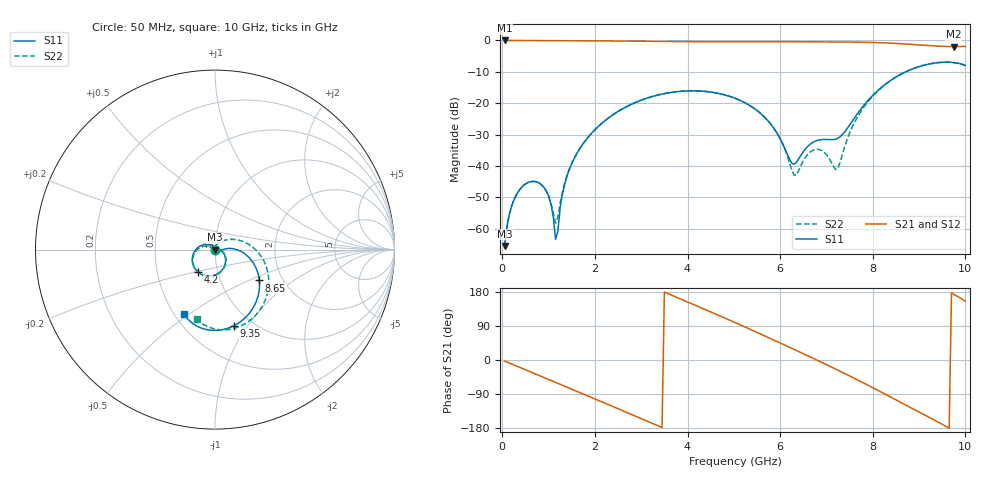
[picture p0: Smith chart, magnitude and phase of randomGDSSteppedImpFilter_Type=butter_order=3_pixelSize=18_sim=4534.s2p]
! freq	dB(S11)	phase(S11)	dB(S12)	phase(S12)
!  dB(S21)	phase(S21)	dB(S22)	phase(S22)
!S-par simulation data
#  GHz  S  DB  R 50
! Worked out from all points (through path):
!   200 points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, 50 MHz to 10 GHz, reference 50 ohm
!   highest |S21| = -0.01 dB at 50 MHz (marker M1); lowest = -2.0 dB at 9.75 GHz (marker M2)
!   group delay of S21, straight-line fit = 154 ps
!   lowest |S11| = -65.5 dB at 50 MHz (marker M3), VSWR 1.00, Z = 50 - j0.0524 ohm
!   |S11| at or under -10 dB: start of sweep to 8.712 GHz
!   |S22| runs from -65.5 to -6.9 dB; largest |S21 - S12| = 0
!   S11 on the Smith chart (normalised r, x): 50 MHz: 1.00, -0.00; 4.2 GHz: 0.80, -0.21; 8.65 GHz: 1.52, -0.58; 9.35 GHz: 0.82, -0.87; 10 GHz: 0.56, -0.48
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0.05  -65.49 -80.4  -0.01 -2.6  -0.01 -2.6  -65.55 -80.4
0.25  -50.85 -94.6  -0.02 -12.9  -0.02 -12.9  -50.88 -95.3
0.65  -44.89 -121.1  -0.04 -33.4  -0.04 -33.4  -44.95 -123.5
1  -49.63 -145.5  -0.06 -51.3  -0.06 -51.3  -49.54 -155.0
1.1  -56.07 -159.6  -0.06 -56.4  -0.06 -56.4  -54.92 179.0
1.15  -63.37 165.2  -0.07 -59.0  -0.07 -59.0  -58.21 140.5
1.35  -45.63 27.1  -0.08 -69.3  -0.08 -69.3  -45.22 37.4
1.75  -32.83 1.8  -0.10 -89.8  -0.10 -89.8  -32.76 5.8
2.5  -22.63 -38.4  -0.17 -128.7  -0.17 -128.7  -22.61 -36.1
3.4  -17.25 -85.4  -0.30 -175.5  -0.30 -175.5  -17.24 -83.4
4.2  -16.07 -127.1  -0.39 142.7  -0.39 142.7  -16.07 -124.8
5.05  -18.56 -172.7  -0.40 97.5  -0.40 97.5  -18.55 -168.5
5.8  -26.73 140.3  -0.39 56.3  -0.39 56.3  -26.68 155.9
6.3  -39.44 36.4  -0.41 28.1  -0.41 28.1  -42.91 -164.2
6.7  -32.53 -39.2  -0.44 5.2  -0.44 5.2  -35.05 -107.6
7.25  -31.13 -23.4  -0.49 -27.0  -0.49 -27.0  -40.62 136.9
7.7  -22.70 5.0  -0.55 -54.2  -0.55 -54.2  -23.62 47.7
8.35  -13.10 -18.3  -0.83 -95.4  -0.83 -95.4  -13.16 1.5
8.65  -10.44 -34.8  -1.08 -114.8  -1.08 -114.8  -10.44 -18.3
9.35  -7.19 -76.1  -1.77 -159.9  -1.77 -159.9  -7.15 -63.1
9.75  -7.06 -100.2  -1.96 173.5  -1.96 173.5  -7.03 -88.5
10  -7.99 -115.5  -1.90 155.1  -1.90 155.1  -8.01 -104.9
